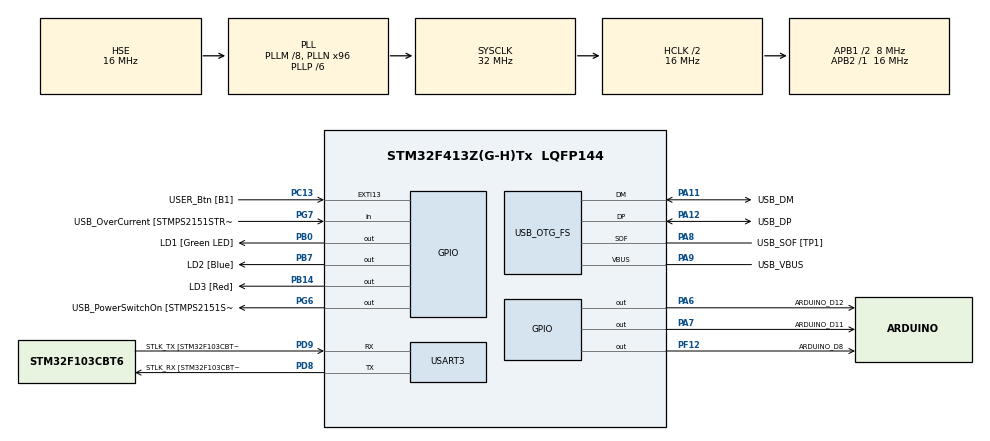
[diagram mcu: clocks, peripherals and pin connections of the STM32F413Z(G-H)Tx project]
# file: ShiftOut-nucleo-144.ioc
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Mcu.Family=STM32F4
Mcu.Name=STM32F413Z(G-H)Tx
Mcu.Package=LQFP144
NVIC.PriorityGroup=NVIC_PRIORITYGROUP_4
PA10.GPIO_Label=USB_ID
PA10.Signal=USB_OTG_FS_ID
PA11.GPIO_Label=USB_DM
PA11.Mode=Device_Only
PA11.Signal=USB_OTG_FS_DM
PA12.GPIO_Label=USB_DP
PA12.Mode=Device_Only
PA12.Signal=USB_OTG_FS_DP
PA13.GPIO_Label=TMS
PA13.Mode=Serial_Wire
PA13.Signal=SYS_JTMS-SWDIO
PA14.GPIO_Label=TCK
PA14.Mode=Serial_Wire
PA14.Signal=SYS_JTCK-SWCLK
PA6.GPIO_Label=ARDUINO_D12
PA6.Signal=GPIO_Output
PA7.GPIO_Label=ARDUINO_D11
PA7.Signal=GPIO_Output
PA8.GPIO_Label=USB_SOF [TP1]
PA8.Mode=Activate_SOF_FS
PA8.Signal=USB_OTG_FS_SOF
PA9.GPIO_Label=USB_VBUS
PA9.Mode=Activate_VBUS
PA9.Signal=USB_OTG_FS_VBUS
PB0.GPIO_Label=LD1 [Green LED]
PB0.Signal=GPIO_Output
PB14.GPIO_Label=LD3 [Red]
PB14.Signal=GPIO_Output
PB3.GPIO_Label=SWO
PB3.Signal=SYS_JTDO-SWO
PB7.GPIO_Label=LD2 [Blue]
PB7.Signal=GPIO_Output
PC13.GPIO_Label=USER_Btn [B1]
PC13.Signal=GPXTI13
PC14-OSC32_IN.Mode=LSE-External-Oscillator
PC14-OSC32_IN.Signal=RCC_OSC32_IN
PC15-OSC32_OUT.Mode=LSE-External-Oscillator
PC15-OSC32_OUT.Signal=RCC_OSC32_OUT
PD8.GPIO_Label=STLK_RX [STM32F103CBT6_PA3]
PD8.Mode=Asynchronous
PD8.Signal=USART3_TX
PD9.GPIO_Label=STLK_TX [STM32F103CBT6_PA2]
PD9.Mode=Asynchronous
PD9.Signal=USART3_RX
PF12.GPIO_Label=ARDUINO_D8
PF12.Signal=GPIO_Output
PG6.GPIO_Label=USB_PowerSwitchOn [STMPS2151STR_EN]
PG6.Signal=GPIO_Output
PG7.GPIO_Label=USB_OverCurrent [STMPS2151STR_FAULT]
PG7.Signal=GPIO_Input
PH0\ -\ OSC_IN.GPIO_Label=MCO
PH0\ -\ OSC_IN.Mode=HSE-External-Oscillator
PH0\ -\ OSC_IN.Signal=RCC_OSC_IN
PH1\ -\ OSC_OUT.Mode=HSE-External-Oscillator
PH1\ -\ OSC_OUT.Signal=RCC_OSC_OUT
ProjectManager.HeapSize=0x200
ProjectManager.StackSize=0x400
ProjectManager.TargetToolchain=STM32CubeIDE
RCC.48MHZClocksFreq_Value=24000000
RCC.AHBCLKDivider=RCC_SYSCLK_DIV2
RCC.AHBFreq_Value=16000000
RCC.APB1CLKDivider=RCC_HCLK_DIV2
RCC.APB1Freq_Value=8000000
RCC.APB1TimFreq_Value=16000000
RCC.APB2Freq_Value=16000000
RCC.APB2TimFreq_Value=16000000
RCC.CortexFreq_Value=16000000
RCC.HCLKFreq_Value=16000000
RCC.HSE_VALUE=16000000
RCC.HSI_VALUE=16000000
RCC.PLLM=8
RCC.PLLMUL=RCC_PLL_MUL9
RCC.PLLN=96
RCC.PLLP=RCC_PLLP_DIV6
RCC.PLLQ=4
RCC.PRESCALERUSB=RCC_USBCLKSOURCE_PLL_DIV1_5
RCC.SYSCLKFreq_VALUE=32000000
RCC.SYSCLKSource=RCC_SYSCLKSOURCE_PLLCLK
RCC.SYSCLKSourceVirtual=RCC_SYSCLKSOURCE_PLLCLK
RCC.USBFreq_Value=48000000
RCC.VCOOutputFreq_Value=192000000
USART3.VirtualMode=VM_ASYNC
USB_OTG_FS.VirtualMode=Device_Only
board=NUCLEO-F413ZH

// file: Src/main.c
/* USER CODE BEGIN Header */
/**
 ******************************************************************************
 * @file           : main.c
 * @brief          : Main program body
 ******************************************************************************
 * @attention
 *
 * <h2><center>&copy; Copyright (c) 2019 STMicroelectronics.
 * All rights reserved.</center></h2>
 *
 * This software component is licensed by ST under BSD 3-Clause license,
 * the "License"; You may not use this file except in compliance with the
 * License. You may obtain a copy of the License at:
 *                        opensource.org/licenses/BSD-3-Clause
 *
 ******************************************************************************
 */
/* USER CODE END Header */

#include "main.h"

UART_HandleTypeDef huart3;

PCD_HandleTypeDef hpcd_USB_OTG_FS;

/* USER CODE BEGIN PV */
int buttonState = 0;
/* USER CODE END PV */

void SystemClock_Config(void);
static void MX_GPIO_Init(void);
static void MX_USART3_UART_Init(void);
static void MX_USB_OTG_FS_PCD_Init(void);

int main(void) {
	/* USER CODE BEGIN 1 */
	uint32_t lastTick = 0;
	uint32_t prevLed[3] = { 0, 0, 0 };
	uint32_t ledPeriod[3] = { 500, 1000, 1500 };
	/* USER CODE END 1 */

	/* MCU Configuration--------------------------------------------------------*/

	/* Reset of all peripherals, Initializes the Flash interface and the Systick. */
	HAL_Init();

	/* Configure the system clock */
	SystemClock_Config();

	/* Initialize all configured peripherals */
	MX_GPIO_Init();
	MX_USART3_UART_Init();
	MX_USB_OTG_FS_PCD_Init();

	/* Infinite loop */
	while (1) {

		/* USER CODE BEGIN 3 */
		lastTick = HAL_GetTick();
#ifdef ENABLE_UART_DEBUG
	    static char buffer[128];
	    sprintf(buffer, "Ticks = %d\n", lastTick);
	    HAL_UART_Transmit(&huart3, (uint8_t*)buffer, strlen(buffer), 100);
#endif

		if ((prevLed[0] == 0) || (lastTick - prevLed[0]) >= ledPeriod[0]) {
			prevLed[0] = lastTick;
			HAL_GPIO_TogglePin(LD1_GPIO_Port, LD1_Pin);
		}
		if ((prevLed[1] == 0) || (lastTick - prevLed[1]) >= ledPeriod[1]) {
			prevLed[1] = lastTick;
			HAL_GPIO_TogglePin(LD2_GPIO_Port, LD2_Pin);
		}
		if ((prevLed[2] == 0) || (lastTick - prevLed[2]) >= ledPeriod[2]) {
			prevLed[2] = lastTick;
			if (buttonState == 0) {
				HAL_GPIO_TogglePin(LD3_GPIO_Port, LD3_Pin);
			}
		}
	}
	/* USER CODE END 3 */
}

void SystemClock_Config(void) {
	RCC_OscInitTypeDef RCC_OscInitStruct = { 0 };
	RCC_ClkInitTypeDef RCC_ClkInitStruct = { 0 };
	RCC_PeriphCLKInitTypeDef PeriphClkInitStruct = { 0 };

	/** Configure the main internal regulator output voltage
	 */
	__HAL_RCC_PWR_CLK_ENABLE()
	;
	__HAL_PWR_VOLTAGESCALING_CONFIG(PWR_REGULATOR_VOLTAGE_SCALE1);
	/** Initializes the CPU, AHB and APB busses clocks
	 */
	RCC_OscInitStruct.OscillatorType = RCC_OSCILLATORTYPE_HSE;
	RCC_OscInitStruct.HSEState = RCC_HSE_ON;
	RCC_OscInitStruct.PLL.PLLState = RCC_PLL_ON;
	RCC_OscInitStruct.PLL.PLLSource = RCC_PLLSOURCE_HSE;
	RCC_OscInitStruct.PLL.PLLM = 8;
	RCC_OscInitStruct.PLL.PLLN = 96;
	RCC_OscInitStruct.PLL.PLLP = RCC_PLLP_DIV6;
	RCC_OscInitStruct.PLL.PLLQ = 4;
	RCC_OscInitStruct.PLL.PLLR = 2;
	if (HAL_RCC_OscConfig(&RCC_OscInitStruct) != HAL_OK) {
		Error_Handler();
	}
	/** Initializes the CPU, AHB and APB busses clocks
	 */
	RCC_ClkInitStruct.ClockType = RCC_CLOCKTYPE_HCLK | RCC_CLOCKTYPE_SYSCLK
			| RCC_CLOCKTYPE_PCLK1 | RCC_CLOCKTYPE_PCLK2;
	RCC_ClkInitStruct.SYSCLKSource = RCC_SYSCLKSOURCE_PLLCLK;
	RCC_ClkInitStruct.AHBCLKDivider = RCC_SYSCLK_DIV2;
	RCC_ClkInitStruct.APB1CLKDivider = RCC_HCLK_DIV2;
	RCC_ClkInitStruct.APB2CLKDivider = RCC_HCLK_DIV1;

	if (HAL_RCC_ClockConfig(&RCC_ClkInitStruct, FLASH_LATENCY_0) != HAL_OK) {
		Error_Handler();
	}
	PeriphClkInitStruct.PeriphClockSelection = RCC_PERIPHCLK_CLK48;
	PeriphClkInitStruct.Clk48ClockSelection = RCC_CLK48CLKSOURCE_PLLQ;
	if (HAL_RCCEx_PeriphCLKConfig(&PeriphClkInitStruct) != HAL_OK) {
		Error_Handler();
	}
}

static void MX_USART3_UART_Init(void) {

	huart3.Instance = USART3;
	huart3.Init.BaudRate = 115200;
	huart3.Init.WordLength = UART_WORDLENGTH_8B;
	huart3.Init.StopBits = UART_STOPBITS_1;
	huart3.Init.Parity = UART_PARITY_NONE;
	huart3.Init.Mode = UART_MODE_TX_RX;
	huart3.Init.HwFlowCtl = UART_HWCONTROL_NONE;
	huart3.Init.OverSampling = UART_OVERSAMPLING_16;
	if (HAL_UART_Init(&huart3) != HAL_OK) {
		Error_Handler();
	}

}

static void MX_USB_OTG_FS_PCD_Init(void) {

	hpcd_USB_OTG_FS.Instance = USB_OTG_FS;
	hpcd_USB_OTG_FS.Init.dev_endpoints = 6;
	hpcd_USB_OTG_FS.Init.speed = PCD_SPEED_FULL;
	hpcd_USB_OTG_FS.Init.dma_enable = DISABLE;
	hpcd_USB_OTG_FS.Init.phy_itface = PCD_PHY_EMBEDDED;
	hpcd_USB_OTG_FS.Init.Sof_enable = ENABLE;
	hpcd_USB_OTG_FS.Init.low_power_enable = DISABLE;
	hpcd_USB_OTG_FS.Init.lpm_enable = DISABLE;
	hpcd_USB_OTG_FS.Init.battery_charging_enable = ENABLE;
	hpcd_USB_OTG_FS.Init.vbus_sensing_enable = ENABLE;
	hpcd_USB_OTG_FS.Init.use_dedicated_ep1 = DISABLE;
	if (HAL_PCD_Init(&hpcd_USB_OTG_FS) != HAL_OK) {
		Error_Handler();
	}

}

static void MX_GPIO_Init(void) {
	GPIO_InitTypeDef GPIO_InitStruct = { 0 };

	/* GPIO Ports Clock Enable */
	__HAL_RCC_GPIOC_CLK_ENABLE()
	;
	__HAL_RCC_GPIOH_CLK_ENABLE()
	;
	__HAL_RCC_GPIOB_CLK_ENABLE()
	;
	__HAL_RCC_GPIOD_CLK_ENABLE()
	;
	__HAL_RCC_GPIOG_CLK_ENABLE()
	;
	__HAL_RCC_GPIOA_CLK_ENABLE()
	;

	/*Configure GPIO pin Output Level */
	HAL_GPIO_WritePin(GPIOB, LD1_Pin | LD3_Pin | LD2_Pin, GPIO_PIN_RESET);

	/*Configure GPIO pin Output Level */
	HAL_GPIO_WritePin(USB_PowerSwitchOn_GPIO_Port, USB_PowerSwitchOn_Pin,
			GPIO_PIN_RESET);

	/*Configure GPIO pin : USER_Btn_Pin */
	GPIO_InitStruct.Pin = USER_Btn_Pin;
	GPIO_InitStruct.Mode = GPIO_MODE_IT_RISING;
	GPIO_InitStruct.Pull = GPIO_NOPULL;
	HAL_GPIO_Init(USER_Btn_GPIO_Port, &GPIO_InitStruct);

	/*Configure GPIO pins : LD1_Pin LD3_Pin LD2_Pin */
	GPIO_InitStruct.Pin = LD1_Pin | LD3_Pin | LD2_Pin;
	GPIO_InitStruct.Mode = GPIO_MODE_OUTPUT_PP;
	GPIO_InitStruct.Pull = GPIO_NOPULL;
	GPIO_InitStruct.Speed = GPIO_SPEED_FREQ_LOW;
	HAL_GPIO_Init(GPIOB, &GPIO_InitStruct);

	/*Configure GPIO pin : USB_PowerSwitchOn_Pin */
	GPIO_InitStruct.Pin = USB_PowerSwitchOn_Pin;
	GPIO_InitStruct.Mode = GPIO_MODE_OUTPUT_PP;
	GPIO_InitStruct.Pull = GPIO_NOPULL;
	GPIO_InitStruct.Speed = GPIO_SPEED_FREQ_LOW;
	HAL_GPIO_Init(USB_PowerSwitchOn_GPIO_Port, &GPIO_InitStruct);

	/*Configure GPIO pin : USB_OverCurrent_Pin */
	GPIO_InitStruct.Pin = USB_OverCurrent_Pin;
	GPIO_InitStruct.Mode = GPIO_MODE_INPUT;
	GPIO_InitStruct.Pull = GPIO_NOPULL;
	HAL_GPIO_Init(USB_OverCurrent_GPIO_Port, &GPIO_InitStruct);

}

void Error_Handler(void) {
}

/************************ (C) COPYRIGHT STMicroelectronics *****END OF FILE****/
